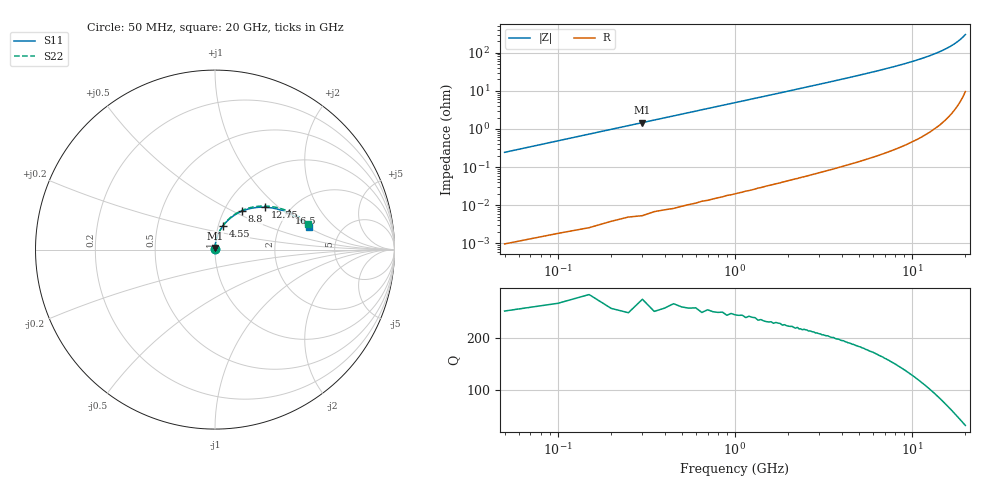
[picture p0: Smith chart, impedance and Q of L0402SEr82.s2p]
!	AVX Thin Film Operation
!	Date:		5 January 2004
!	Description: 	Accu-L®  L0402 Series Thin Film RF Inductors
!	Part Number:	L0402R82AHNTR
!	50 MHz-20GHz Serial Measurements
#	mhz	S	db	R	50
!	S11	S11	S21	S21	S12	S12	S22	S22
!	dB	Phase	dB	Phase	dB	Phase	dB	Phase
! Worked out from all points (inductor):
!   400 points, 50 MHz to 20 GHz, reference 50 ohm
!   read as 1/Y11, port 2 shorted: L = 778 pH near 150 MHz
!   highest Q = 260 at 300 MHz (marker M1), where L = 778 pH
!   S11 on the Smith chart (normalised r, x): 50 MHz: 1.00, +0.00; 4.55 GHz: 1.05, +0.28; 8.8 GHz: 1.21, +0.55; 12.75 GHz: 1.51, +0.82; 16.5 GHz: 2.05, +1.05; 20 GHz: 2.92, +1.02
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50  -56.41 89.5  -0.00 -0.2  -0.00 -0.2  -56.41 89.5
100  -50.39 89.3  -0.00 -0.4  -0.00 -0.4  -50.39 89.3
150  -46.87 89.1  -0.00 -0.6  -0.00 -0.6  -46.87 89.1
200  -44.37 88.9  -0.00 -0.8  -0.00 -0.8  -44.37 88.9
300  -40.85 88.5  -0.00 -1.2  -0.00 -1.2  -40.85 88.5
450  -37.32 87.9  -0.00 -1.7  -0.00 -1.7  -37.32 87.9
550  -35.58 87.5  -0.00 -2.1  -0.00 -2.1  -35.58 87.5
700  -33.49 86.9  -0.00 -2.7  -0.00 -2.7  -33.49 87.0
950  -30.83 85.9  -0.01 -3.7  -0.01 -3.7  -30.83 86.0
1300  -28.11 84.5  -0.01 -5.0  -0.01 -5.0  -28.11 84.7
1700  -25.78 82.9  -0.01 -6.6  -0.01 -6.6  -25.78 83.1
2200  -23.55 80.9  -0.02 -8.5  -0.02 -8.5  -23.55 81.2
3400  -19.78 76.2  -0.05 -13.1  -0.05 -13.1  -19.78 76.6
4550  -17.27 71.7  -0.09 -17.6  -0.09 -17.6  -17.27 72.2
6700  -13.98 63.3  -0.19 -25.8  -0.19 -25.8  -13.98 64.0
8800  -11.70 55.1  -0.33 -33.8  -0.33 -33.8  -11.70 56.1
10050  -10.61 50.3  -0.42 -38.6  -0.42 -38.6  -10.61 51.4
12750  -8.71 40.0  -0.67 -48.6  -0.67 -48.6  -8.71 41.4
13350  -8.35 37.8  -0.73 -50.8  -0.73 -50.8  -8.35 39.2
16500  -6.75 26.1  -1.09 -62.3  -1.09 -62.3  -6.75 27.8
16700  -6.67 25.3  -1.11 -63.0  -1.11 -63.0  -6.67 27.1
20000  -5.40 13.4  -1.56 -74.7  -1.56 -74.7  -5.40 15.5
